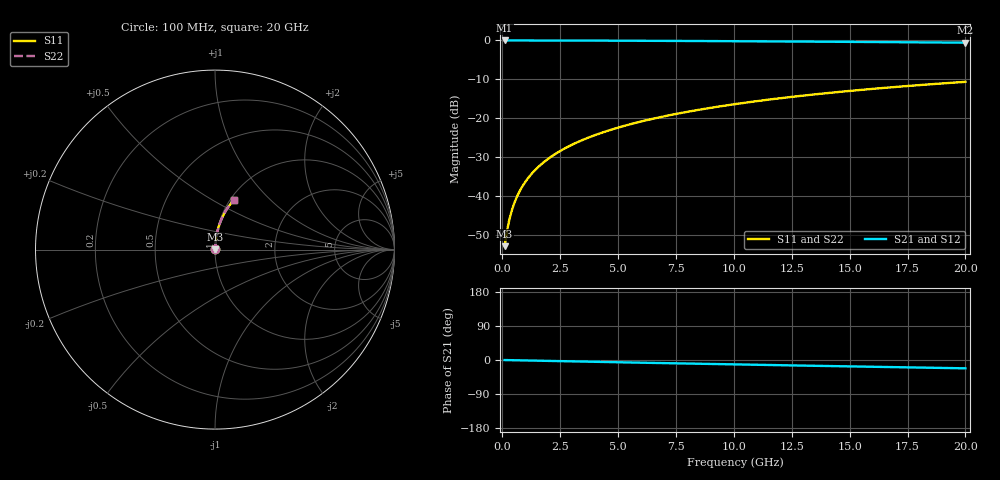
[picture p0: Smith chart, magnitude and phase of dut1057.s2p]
! Touchstone file exported from HFSS 2024.1.0
!  File:  C:/UserFiles/LocalFiles/RDL_TSV_Batchsim/temp_RDL_bottom_1057_1780052234.aedt
!  Generated:  07:00:05 PM May 29, 2026
!  Design:  RDL_bottom
!  Project:  temp_RDL_bottom_1057_1780052234
!  Setup:  Setup1
!  Solution:  Sweep
! Variables:
!  dtsv = 10.80580581um
!  hbump = 3um
!  htsv = 86.67um
!  ldown = 223.87um
!  lrdl = 100um
!  p = 40
!  p1 = 57.31um
!  rhole = 1um
!  t = 450um
!  tdown = 4.55um
!  trdl = 3.915915916um
!  wdown = 10.99um
!  wrdl = 20um
# GHz S MA R 50.000000
! Terminal data exported
! Port[1] = RDL1_T1
! Port[2] = RDL1_T2
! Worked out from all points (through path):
!   200 points, 100 MHz to 20 GHz, reference 50 ohm
!   highest |S21| = -0.01 dB at 100 MHz (marker M1); lowest = -0.6 dB at 20 GHz (marker M2)
!   group delay of S21, straight-line fit = 3.04 ps
!   lowest |S11| = -52.8 dB at 100 MHz (marker M3), VSWR 1.00, Z = 50.2 + j0.156 ohm
!   |S11| at or under -10 dB: start of sweep to end of sweep
!   |S22| runs from -52.8 to -10.6 dB; largest |S21 - S12| = 4e-15
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0.1  0.002296 42.7  0.9983 -0.1  0.9983 -0.1  0.002296 42.7
! Gamma 0 0 0 0
! Port Impedance 50 0 50 0
0.2  0.003549 61.1  0.9983 -0.2  0.9983 -0.2  0.003549 61.1
0.3  0.004964 69.3  0.9982 -0.4  0.9982 -0.4  0.004964 69.3
0.4  0.006428 73.8  0.9982 -0.5  0.9982 -0.5  0.006428 73.8
0.5  0.007911 76.6  0.9982 -0.6  0.9982 -0.6  0.007911 76.6
0.6  0.009403 78.5  0.9981 -0.7  0.9981 -0.7  0.009403 78.5
0.8  0.0124 80.8  0.998 -1.0  0.998 -1.0  0.0124 80.8
1.1  0.01693 82.7  0.9978 -1.3  0.9978 -1.3  0.01693 82.7
1.5  0.02299 83.9  0.9975 -1.8  0.9975 -1.8  0.02299 83.9
1.8  0.02754 84.4  0.9972 -2.2  0.9972 -2.2  0.02754 84.4
2.1  0.03209 84.6  0.9969 -2.5  0.9969 -2.5  0.03209 84.6
2.7  0.0412 84.8  0.9961 -3.3  0.9961 -3.3  0.0412 84.8
3.5  0.05335 84.6  0.9948 -4.2  0.9948 -4.2  0.05335 84.6
4.2  0.06397 84.2  0.9934 -5.0  0.9934 -5.0  0.06397 84.2
5  0.0761 83.7  0.9916 -6.0  0.9916 -6.0  0.0761 83.7
5.9  0.08974 83.0  0.9894 -7.0  0.9894 -7.0  0.08974 83.0
6.8  0.1034 82.3  0.9869 -8.0  0.9869 -8.0  0.1034 82.3
8.3  0.126 81.0  0.9824 -9.7  0.9824 -9.7  0.126 81.0
10.1  0.153 79.3  0.9765 -11.7  0.9765 -11.7  0.153 79.3
13.4  0.2018 76.1  0.9642 -15.2  0.9642 -15.2  0.2018 76.1
16.7  0.249 72.7  0.9504 -18.6  0.9504 -18.6  0.249 72.7
20  0.2942 69.4  0.9353 -22.0  0.9353 -22.0  0.2942 69.4
